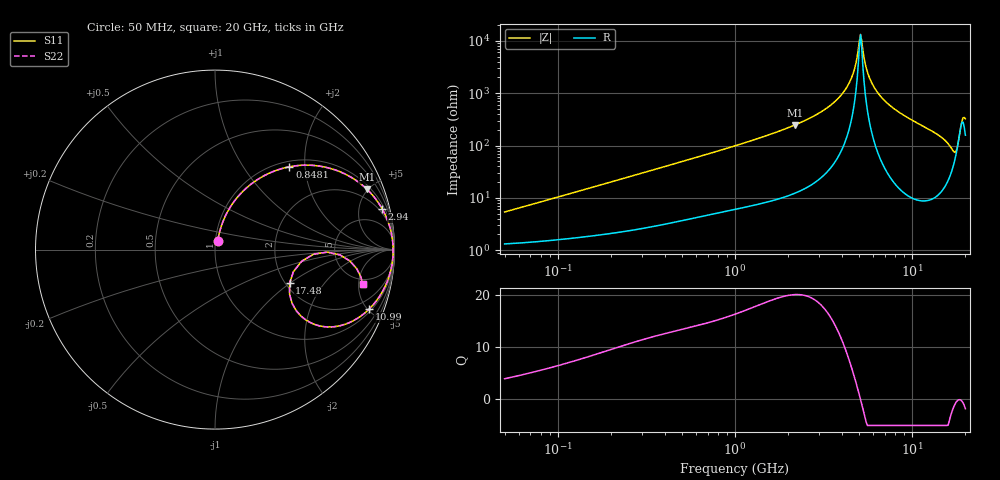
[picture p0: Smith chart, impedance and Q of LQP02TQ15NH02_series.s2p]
!Murata Part Number: LQP02TQ15NH02
!These Parameters are Measured in Series Mode Connection
!  o--[Z]--o
!Port1  Port2
!  o-------o
!Freq. Start=50[MHz] Stop=20[GHz], 401[Steps]
# Hz S RI R 50
!Freq.(Hz) S11(Real) S11(Imag) S21(Real) S21(Imag) S12(Real) S12(Imag) S22(Real) S22(Imag)
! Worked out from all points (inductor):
!   401 points, 50 MHz to 20 GHz, reference 50 ohm
!   read as one part in series: L = 16.5 nH near 51.52 MHz
!   highest Q = 20.1 at 2.179 GHz (marker M1), where L = 18 nH
!   self-resonance near 5.041 GHz
!   S11 on the Smith chart (normalised r, x): 50 MHz: 1.03, +0.10; 848.1 MHz: 1.11, +1.66; 2.94 GHz: 1.43, +8.07; 10.99 GHz: 1.18, -5.12; 17.48 GHz: 2.10, -1.00; 20 GHz: 4.15, -5.63
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5e7  0.0156 0.0507  0.9844 -0.0507  0.9844 -0.0507  0.0156 0.0507
1.364002e8  0.0353 0.1312  0.9647 -0.1312  0.9647 -0.1312  0.0353 0.1312
3.721004e8  0.1385 0.3072  0.8615 -0.3072  0.8615 -0.3072  0.1385 0.3072
8.480927e8  0.4143 0.4614  0.5857 -0.4614  0.5857 -0.4614  0.4143 0.4614
1e9  0.4931 0.4702  0.5069 -0.4702  0.5069 -0.4702  0.4931 0.4702
2.179053e9  0.8468 0.3361  0.1532 -0.3361  0.1532 -0.3361  0.8468 0.3361
2.728004e9  0.9139 0.2559  0.0861 -0.2559  0.0861 -0.2559  0.9139 0.2559
2.940159e9  0.9316 0.2271  0.0684 -0.2271  0.0684 -0.2271  0.9316 0.2271
3.680849e9  0.9706 0.1371  0.0294 -0.1371  0.0294 -0.1371  0.9706 0.1371
4.275624e9  0.9857 0.0753  0.0143 -0.0753  0.0143 -0.0753  0.9857 0.0753
4.677679e9  0.9906 0.0377  0.00941 -0.0377  0.00941 -0.0377  0.9906 0.0377
4.966507e9  0.9922 0.0124  0.00781 -0.0124  0.00781 -0.0124  0.9922 0.0124
5.117541e9  0.9925 -0.000254  0.00752 0.000254  0.00752 0.000254  0.9925 -0.000254
5.273168e9  0.9924 -0.013  0.00757 0.013  0.00757 0.013  0.9924 -0.013
5.515528e9  0.9917 -0.0321  0.00829 0.0321  0.00829 0.0321  0.9917 -0.0321
5.856089e9  0.9895 -0.0577  0.0105 0.0577  0.0105 0.0577  0.9895 -0.0577
7.442007e9  0.9658 -0.1613  0.0342 0.1613  0.0342 0.1613  0.9658 -0.1613
1.098561e10  0.8592 -0.3309  0.1408 0.3309  0.1408 0.3309  0.8592 -0.3309
1.550395e10  0.5835 -0.4253  0.4165 0.4253  0.4165 0.4253  0.5835 -0.4253
1.747767e10  0.4155 -0.1876  0.5845 0.1876  0.5845 0.1876  0.4155 -0.1876
1.855685e10  0.6261 -0.0141  0.3739 0.0141  0.3739 0.0141  0.6261 -0.0141
2e10  0.8232 -0.1934  0.1768 0.1934  0.1768 0.1934  0.8232 -0.1934
